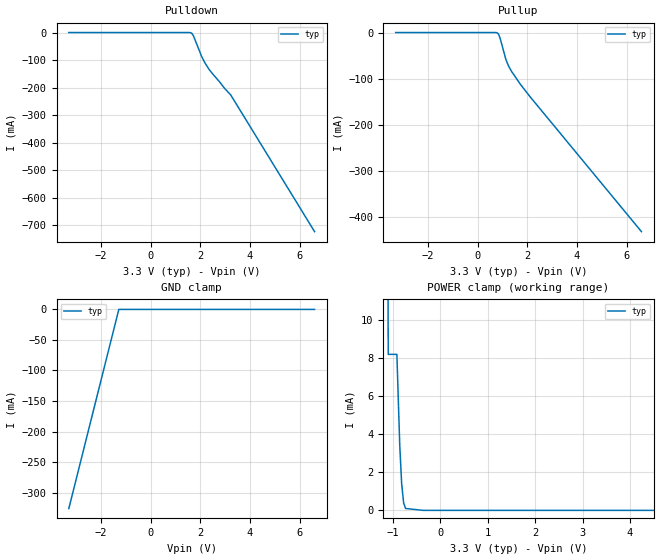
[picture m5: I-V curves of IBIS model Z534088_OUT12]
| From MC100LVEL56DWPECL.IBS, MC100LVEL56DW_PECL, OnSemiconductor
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| (C) COPYRIGHT 1993-2000
| MENTOR GRAPHICS CORPORATION
| ICX STANDARD LIBRARY, ICX PROJECT MODELING,
| ICX CUSTOM MODELING, ICX VENDOR MODEL
| ALL RIGHTS RESERVED.
| THE FOLLOWING ARE TRADEMARKS OR SERVICE MARKS OF
| MENTOR GRAPHICS CORPORATION:ICX (R), ICX STANDARD
| LIBRARY(R), ICX PROJECT MODELING(R), ICX CUSTOM
| MODELING(R), qualityIBIS(TM), MODELVIEWER(TM),
| AND MODELEDITOR(TM)
| ALL COPIES OF SOFTWARE, INCLUDING BUT NOT LIMITED TO
| ANY MODIFICATIONS, ENHANCEMENTS OR DERIVATIVE WORKS,
| MUST CONTAIN ALL MENTOR GRAPHICS CORPORATION'S
| NOTICES AND LEGENDS, INCLUDING THOSE EMBEDDED IN
| SOFTWARE AND THOSE AFFIXED TO SOFTWARE MEDIUM
| AND CONTAINER, AS RECEIVED FROM MENTOR GRAPHICS
| CORPORATION.
| Model Application Version 1.89 2/18/99.
[Model] Z534088_OUT12
Model_type Output_ECL
Vref=1.300V
Rref=50.00ohms
Cref=0.000F
Vmeas=2.207V
C_comp 8.000pF NA NA
| variable typ   min   max
[Voltage Range] 3.300V NA NA
[POWER Clamp Reference] 3.300V NA NA
[Pullup Reference] 3.300V NA NA
[Pulldown Reference] 3.300V NA NA
[GND Clamp Reference] 0.000V NA NA
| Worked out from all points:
|   POWER clamp passes 1 mA (typ) near -0.80 V on its own axis
[GND Clamp]
-3.3V     -326mA     NA         NA
-1.286V   0A         NA         NA
6.6V      0A         NA         NA
[Pulldown]
-3.3V     0A         NA         NA
1.638V    -1.9mA     NA         NA
1.72V     -11.8mA    NA         NA
2.044V    -85.5mA    NA         NA
2.186V    -110.6mA   NA         NA
2.348V    -133.8mA   NA         NA
2.53V     -154.2mA   NA         NA
2.976V    -203mA     NA         NA
3.22V     -226.3mA   NA         NA
6.6V      -722.9mA   NA         NA
[Pullup]
-3.3V     0A         NA         NA
807mV     -1.2mA     NA         NA
848mV     -4mA       NA         NA
909mV     -12.7mA    NA         NA
1.132V    -57.2mA    NA         NA
1.233V    -71.1mA    NA         NA
1.355V    -83.2mA    NA         NA
1.719V    -111.9mA   NA         NA
2.105V    -138.6mA   NA         NA
6.6V      -431.5mA   NA         NA
[POWER Clamp]
-3.3V     1.643A     NA         NA
-1.098V   8.2mA      NA         NA
-916mV    8.2mA      NA         NA
-855mV    3.4mA      NA         NA
-815mV    1.4mA      NA         NA
-774mV    400uA      NA         NA
-733mV    100uA      NA         NA
-366.5mV  0A         NA         NA
6.6V      0A         NA         NA
[Ramp]
| variable typ min max
dV/dt_r 385.6m/611.1p NA NA
dV/dt_f 385.6m/250.9p NA NA
R_load = 50.00Ohms
